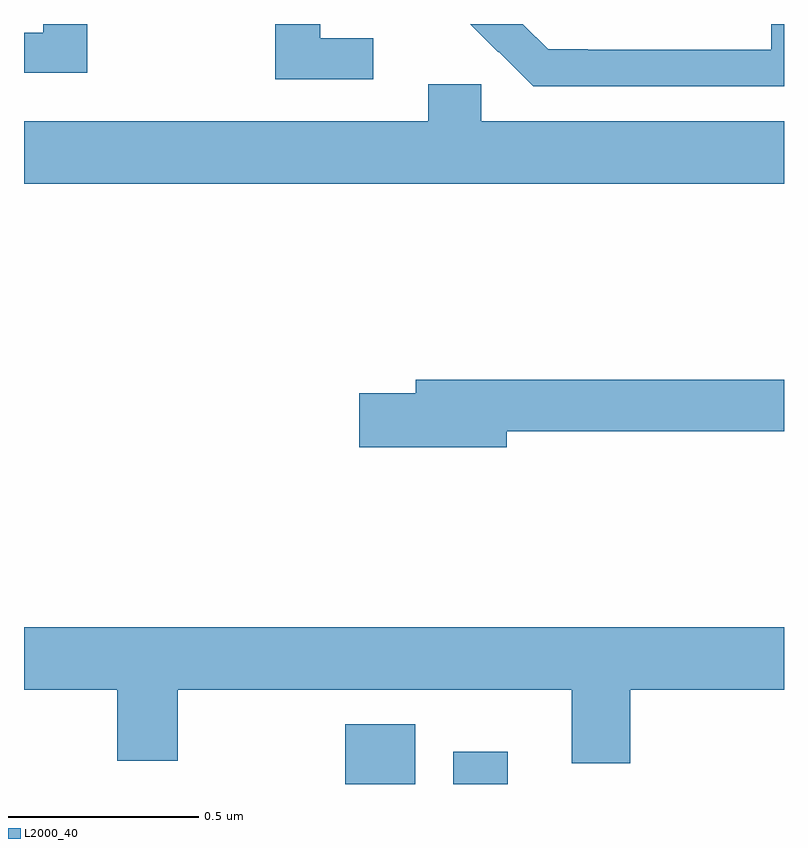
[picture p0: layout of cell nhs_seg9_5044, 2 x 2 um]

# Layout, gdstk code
import gdstk
lib = gdstk.Library(unit=1e-6, precision=1e-09)
def R(c, l, rs):  # rectangles x0, y0, x1, y1
    for r in rs: c.add(gdstk.rectangle(r[:2], r[2:], *l))
def P(c, l, *ps):  # polygons
    for p in ps: c.add(gdstk.Polygon(p, *l))
L2000_40 = (2000, 40)

nhs_seg9_5044 = lib.new_cell('nhs_seg9_5044')
R(nhs_seg9_5044, L2000_40, [(174.845,1201.5,175.03,1201.657), (175.13,1201.5,175.273,1201.585)])
P(nhs_seg9_5044, L2000_40, [(176,1203.5),(175.967,1203.5),(175.967,1203.432),(175.483,1203.432),(175.483,1203.433),(175.38,1203.433),(175.312,1203.5),(175.174,1203.5),(175.248,1203.426),(175.249,1203.427),(175.34,1203.336),(176,1203.336)],
  [(174.919,1203.463),(174.779,1203.463),(174.779,1203.5),(174.661,1203.5),(174.661,1203.354),(174.919,1203.354)],
  [(174.167,1203.5),(174.051,1203.5),(174.051,1203.477),(174,1203.477),(174,1203.372),(174.167,1203.372)],
  [(176,1203.244),(175.203,1203.244),(175.203,1203.342),(175.064,1203.342),(175.064,1203.244),(174,1203.244),(174,1203.08),(176,1203.08)],
  [(175.27,1202.428),(176,1202.428),(176,1202.564),(175.031,1202.564),(175.031,1202.528),(174.882,1202.528),(174.882,1202.386),(175.27,1202.386)],
  [(175.595,1201.748),(176,1201.748),(176,1201.912),(174,1201.912),(174,1201.748),(174.245,1201.748),(174.245,1201.561),(174.405,1201.561),(174.405,1201.748),(175.442,1201.748),(175.442,1201.554),(175.595,1201.554)])

lib.write_gds('nhs_seg9_5044.gds')
